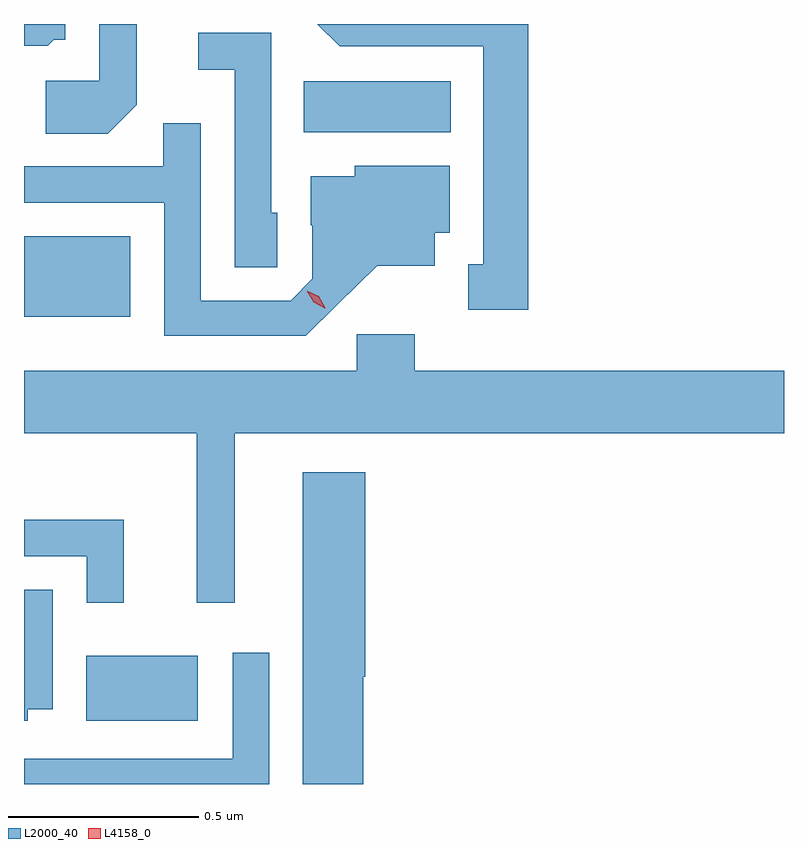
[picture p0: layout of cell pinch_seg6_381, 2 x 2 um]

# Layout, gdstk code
import gdstk
lib = gdstk.Library(unit=1e-6, precision=1e-09)
def R(c, l, rs):  # rectangles x0, y0, x1, y1
    for r in rs: c.add(gdstk.rectangle(r[:2], r[2:], *l))
def P(c, l, *ps):  # polygons
    for p in ps: c.add(gdstk.Polygon(p, *l))
L2000_40 = (2000, 40)
L4158_0 = (4158, 0)

pinch_seg6_381 = lib.new_cell('pinch_seg6_381')
R(pinch_seg6_381, L2000_40, [(676.034,950.576,676.327,950.746), (675.87,951.638,676.15,951.85), (676.606,952.124,676.993,952.258)])
P(pinch_seg6_381, L2000_40, [(675.948,952.368),(675.979,952.368),(675.979,952.409),(675.87,952.409),(675.87,952.352),(675.932,952.352)],
  [(676.167,952.196),(676.167,952.409),(676.068,952.409),(676.068,952.26),(675.927,952.26),(675.927,952.12),(676.091,952.12)],
  [(677.197,952.409),(676.642,952.409),(676.701,952.35),(677.078,952.35),(677.078,951.777),(677.039,951.777),(677.039,951.657),(677.197,951.657)],
  [(676.536,951.912),(676.521,951.912),(676.521,952.386),(676.329,952.386),(676.329,952.289),(676.425,952.289),(676.425,951.769),(676.536,951.769)],
  [(676.696,951.671),(676.799,951.773),(676.951,951.773),(676.951,951.86),(676.99,951.86),(676.99,952.036),(676.74,952.036),(676.74,952.009),(676.625,952.009),(676.625,951.88),(676.629,951.88),(676.629,951.738),(676.572,951.681),(676.335,951.681),(676.335,952.148),(676.237,952.148),(676.237,952.035),(675.87,952.035),(675.87,951.939),(676.239,951.939),(676.239,951.588),(676.612,951.588)],
  [(676.424,951.332),(677.87,951.332),(677.87,951.496),(676.898,951.496),(676.898,951.592),(676.746,951.592),(676.746,951.496),(675.87,951.496),(675.87,951.332),(676.325,951.332),(676.325,950.886),(676.424,950.886)],
  [(676.763,950.691),(676.768,950.691),(676.768,951.229),(676.604,951.229),(676.604,950.409),(676.763,950.409)],
  [(676.133,951.105),(675.87,951.105),(675.87,951.009),(676.035,951.009),(676.035,950.886),(676.133,950.886)],
  [(675.88,950.606),(675.946,950.606),(675.946,950.92),(675.87,950.92),(675.87,950.576),(675.88,950.576)],
  [(676.515,950.755),(676.419,950.755),(676.419,950.475),(675.87,950.475),(675.87,950.409),(676.515,950.409)])
P(pinch_seg6_381, L4158_0, [(676.662,951.661),(676.632,951.677),(676.614,951.707),(676.614,951.707),(676.614,951.707),(676.645,951.692),(676.663,951.662),(676.663,951.661)])

lib.write_gds('pinch_seg6_381.gds')
